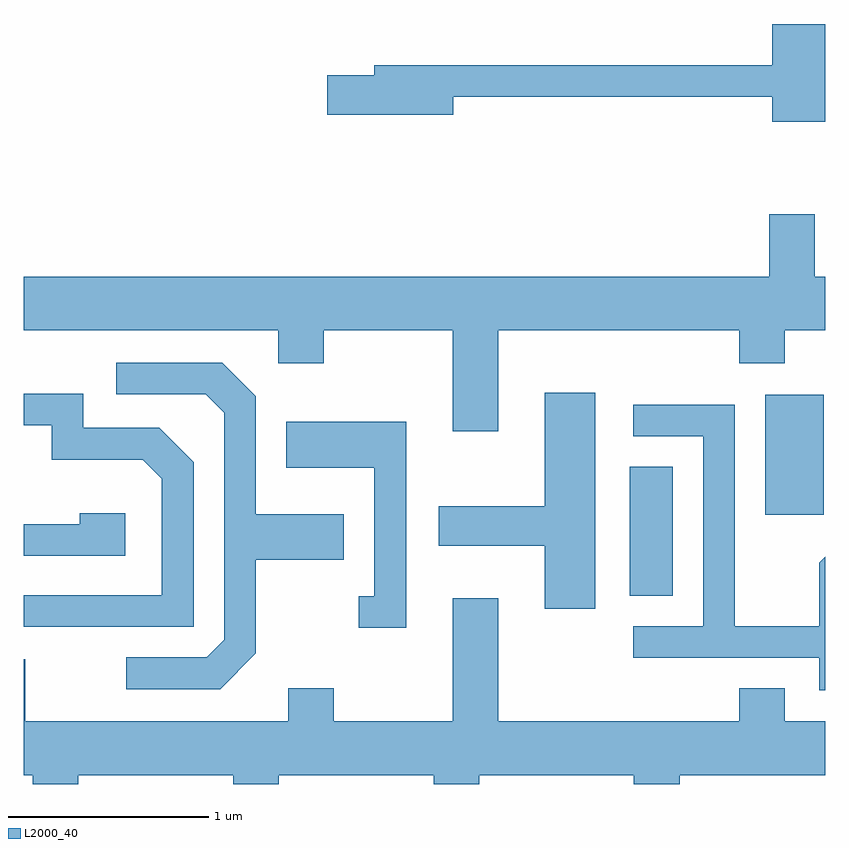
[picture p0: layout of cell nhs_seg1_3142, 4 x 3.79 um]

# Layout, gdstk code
import gdstk
lib = gdstk.Library(unit=1e-6, precision=1e-09)
def R(c, l, rs):  # rectangles x0, y0, x1, y1
    for r in rs: c.add(gdstk.rectangle(r[:2], r[2:], *l))
def P(c, l, *ps):  # polygons
    for p in ps: c.add(gdstk.Polygon(p, *l))
L2000_40 = (2000, 40)

nhs_seg1_3142 = lib.new_cell('nhs_seg1_3142')
R(nhs_seg1_3142, L2000_40, [(282.636,942.651,282.849,943.294), (283.311,943.056,283.604,943.654)])
P(nhs_seg1_3142, L2000_40, [(283.611,945.504),(283.346,945.504),(283.346,945.299),(281.361,945.299),(281.361,945.249),(281.126,945.249),(281.126,945.051),(281.754,945.051),(281.754,945.141),(283.346,945.141),(283.346,945.016),(283.611,945.016)],
  [(281.979,943.976),(283.181,943.976),(283.181,943.811),(283.409,943.811),(283.409,943.976),(283.611,943.976),(283.611,944.244),(283.559,944.244),(283.559,944.554),(283.331,944.554),(283.331,944.244),(279.611,944.244),(279.611,943.976),(280.881,943.976),(280.881,943.811),(281.109,943.811),(281.109,943.976),(281.751,943.976),(281.751,943.471),(281.979,943.471)],
  [(280.769,942.364),(280.769,942.831),(281.209,942.831),(281.209,943.059),(280.769,943.059),(280.769,943.647),(280.602,943.814),(280.073,943.814),(280.073,943.656),(280.519,943.656),(280.611,943.564),(280.611,942.432),(280.524,942.344),(280.123,942.344),(280.123,942.186),(280.592,942.186)],
  [(282.464,943.664),(282.211,943.664),(282.211,943.099),(281.681,943.099),(281.681,942.901),(282.211,942.901),(282.211,942.586),(282.464,942.586)],
  [(280.459,943.317),(280.287,943.489),(279.909,943.489),(279.909,943.659),(279.611,943.659),(279.611,943.501),(279.751,943.501),(279.751,943.331),(280.204,943.331),(280.301,943.234),(280.301,942.654),(279.611,942.654),(279.611,942.496),(280.459,942.496)],
  [(283.611,942.847),(283.581,942.817),(283.581,942.499),(283.159,942.499),(283.159,943.604),(282.653,943.604),(282.653,943.446),(283.001,943.446),(283.001,942.499),(282.653,942.499),(282.653,942.341),(283.581,942.341),(283.581,942.181),(283.611,942.181)],
  [(281.519,943.519),(280.921,943.519),(280.921,943.291),(281.361,943.291),(281.361,942.649),(281.283,942.649),(281.283,942.491),(281.519,942.491)],
  [(280.119,943.064),(279.891,943.064),(279.891,943.009),(279.611,943.009),(279.611,942.851),(280.119,942.851)],
  [(279.884,941.756),(280.656,941.756),(280.656,941.712),(280.884,941.712),(280.884,941.756),(281.656,941.756),(281.656,941.712),(281.884,941.712),(281.884,941.756),(282.656,941.756),(282.656,941.712),(282.884,941.712),(282.884,941.756),(283.611,941.756),(283.611,942.024),(283.409,942.024),(283.409,942.189),(283.181,942.189),(283.181,942.024),(281.979,942.024),(281.979,942.639),(281.751,942.639),(281.751,942.024),(281.159,942.024),(281.159,942.189),(280.931,942.189),(280.931,942.024),(279.619,942.024),(279.619,942.334),(279.611,942.334),(279.611,941.756),(279.656,941.756),(279.656,941.712),(279.884,941.712)])

lib.write_gds('nhs_seg1_3142.gds')
